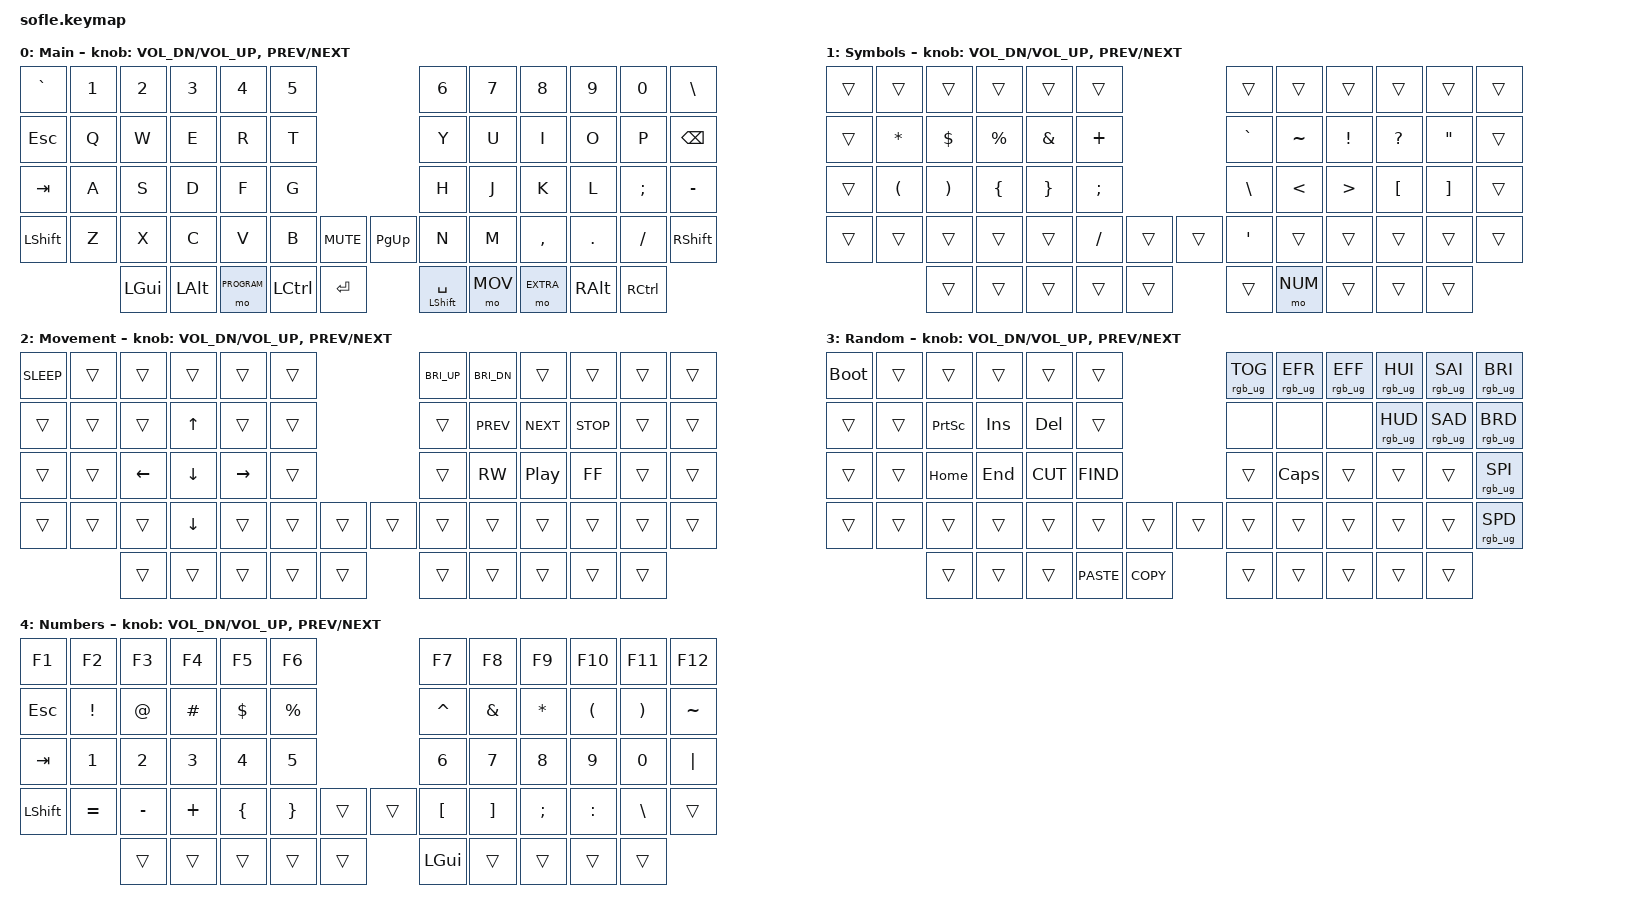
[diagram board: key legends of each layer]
#include <behaviors.dtsi>
#include <dt-bindings/zmk/keys.h>
#include <dt-bindings/zmk/bt.h>
#include <dt-bindings/zmk/outputs.h>
#include <dt-bindings/zmk/rgb.h>
#include <dt-bindings/led/led.h>

#define QWERTY  0
#define PROGRAM 1
#define MOV     2
#define EXTRA   3
#define NUM     4

// ws2812 RGB underglow data line. Sofle uses Pro Micro D3, which maps to
// P0.06 on the nice!nano v2. If the LEDs don't light, change this pin.
&pinctrl {
    spi3_default: spi3_default {
        group1 {
            psels = <NRF_PSEL(SPIM_MOSI, 0, 6)>;
        };
    };
    spi3_sleep: spi3_sleep {
        group1 {
            psels = <NRF_PSEL(SPIM_MOSI, 0, 6)>;
            low-power-enable;
        };
    };
};

&spi3 {
    compatible = "nordic,nrf-spim";
    status = "okay";
    pinctrl-0 = <&spi3_default>;
    pinctrl-1 = <&spi3_sleep>;
    pinctrl-names = "default", "sleep";

    led_strip: ws2812@0 {
        compatible = "worldsemi,ws2812-spi";
        reg = <0>;
        spi-max-frequency = <4000000>;

        chain-length = <29>;
        spi-one-frame = <0x70>;
        spi-zero-frame = <0x40>;
        color-mapping = <LED_COLOR_ID_GREEN LED_COLOR_ID_RED LED_COLOR_ID_BLUE>;
    };
};

/ {
    chosen {
        zmk,underglow = &led_strip;
    };

    behaviors {
        // Space on tap, Left Shift on hold. tap-preferred so fast typing
        // (rolling space + a letter) never registers a phantom shift —
        // the hold only fires if you genuinely hold past the term.
        spc_sft: space_shift {
            compatible = "zmk,behavior-hold-tap";
            #binding-cells = <2>;
            flavor = "tap-preferred";
            tapping-term-ms = <220>;
            quick-tap-ms = <175>;
            bindings = <&kp>, <&kp>;
        };
    };

    keymap {
        compatible = "zmk,keymap";

        qwerty_layer {
            display-name = "Main";
            bindings = <
&kp GRAVE  &kp N1    &kp N2    &kp N3    &kp N4    &kp N5                                  &kp N6    &kp N7    &kp N8    &kp N9    &kp N0    &kp BSLH
&kp ESC    &kp Q     &kp W     &kp E     &kp R     &kp T                                   &kp Y     &kp U     &kp I     &kp O     &kp P     &kp BSPC
&kp TAB    &kp A     &kp S     &kp D     &kp F     &kp G                                   &kp H     &kp J     &kp K     &kp L     &kp SEMI  &kp MINUS
&kp LSHFT  &kp Z     &kp X     &kp C     &kp V     &kp B     &kp C_MUTE       &kp PG_UP    &kp N     &kp M     &kp COMMA &kp DOT   &kp FSLH  &kp RSHFT
                     &kp LGUI  &kp LALT  &mo PROGRAM &kp LCTRL &kp RET           &spc_sft LSHFT SPACE &mo MOV &mo EXTRA &kp RALT  &kp RCTRL
            >;
            sensor-bindings = <&inc_dec_kp C_VOL_DN C_VOL_UP &inc_dec_kp C_PREV C_NEXT>;
        };

        program_layer {
            display-name = "Symbols";
            bindings = <
&trans     &trans    &trans    &trans    &trans    &trans                                  &trans    &trans    &trans    &trans    &trans    &trans
&trans     &kp ASTRK &kp DLLR  &kp PRCNT &kp AMPS  &kp PLUS                                &kp GRAVE &kp TILDE &kp EXCL  &kp QMARK &kp DQT   &trans
&trans     &kp LPAR  &kp RPAR  &kp LBRC  &kp RBRC  &kp SEMI                                &kp BSLH  &kp LT    &kp GT    &kp LBKT  &kp RBKT  &trans
&trans     &trans    &trans    &trans    &trans    &kp FSLH  &trans           &trans       &kp APOS  &trans    &trans    &trans    &trans    &trans
                     &trans    &trans    &trans    &trans    &trans               &trans   &mo NUM   &trans    &trans    &trans
            >;
            sensor-bindings = <&inc_dec_kp C_VOL_DN C_VOL_UP &inc_dec_kp C_PREV C_NEXT>;
        };

        mov_layer {
            display-name = "Movement";
            bindings = <
&kp C_SLEEP &trans   &trans    &trans    &trans    &trans                                  &kp C_BRI_UP &kp C_BRI_DN &trans &trans &trans  &trans
&trans     &trans    &trans    &kp UP    &trans    &trans                                  &trans    &kp C_PREV &kp C_NEXT &kp C_STOP &trans &trans
&trans     &trans    &kp LEFT  &kp DOWN  &kp RIGHT &trans                                  &trans    &kp C_RW  &kp C_PP  &kp C_FF  &trans    &trans
&trans     &trans    &trans    &kp DOWN  &trans    &trans    &trans           &trans       &trans    &trans    &trans    &trans    &trans    &trans
                     &trans    &trans    &trans    &trans    &trans               &trans   &trans    &trans    &trans    &trans
            >;
            sensor-bindings = <&inc_dec_kp C_VOL_DN C_VOL_UP &inc_dec_kp C_PREV C_NEXT>;
        };

        extra_layer {
            display-name = "Random";
            bindings = <
&bootloader &trans   &trans    &trans    &trans    &trans                                  &rgb_ug RGB_TOG &rgb_ug RGB_EFR &rgb_ug RGB_EFF &rgb_ug RGB_HUI &rgb_ug RGB_SAI &rgb_ug RGB_BRI
&trans     &trans    &kp PSCRN &kp INS   &kp DEL   &trans                                  &none     &none     &none     &rgb_ug RGB_HUD &rgb_ug RGB_SAD &rgb_ug RGB_BRD
&trans     &trans    &kp HOME  &kp END   &kp K_CUT &kp K_FIND                              &trans    &kp CAPS  &trans    &trans    &trans    &rgb_ug RGB_SPI
&trans     &trans    &trans    &trans    &trans    &trans    &trans           &trans       &trans    &trans    &trans    &trans    &trans    &rgb_ug RGB_SPD
                     &trans    &trans    &trans    &kp K_PASTE &kp K_COPY          &trans   &trans    &trans    &trans    &trans
            >;
            sensor-bindings = <&inc_dec_kp C_VOL_DN C_VOL_UP &inc_dec_kp C_PREV C_NEXT>;
        };

        num_layer {
            display-name = "Numbers";
            bindings = <
&kp F1     &kp F2    &kp F3    &kp F4    &kp F5    &kp F6                                  &kp F7    &kp F8    &kp F9    &kp F10   &kp F11   &kp F12
&kp ESC    &kp EXCL  &kp AT    &kp HASH  &kp DLLR  &kp PRCNT                               &kp CARET &kp AMPS  &kp ASTRK &kp LPAR  &kp RPAR  &kp TILDE
&kp TAB    &kp N1    &kp N2    &kp N3    &kp N4    &kp N5                                  &kp N6    &kp N7    &kp N8    &kp N9    &kp N0    &kp PIPE
&kp LSHFT  &kp EQUAL &kp MINUS &kp PLUS  &kp LBRC  &kp RBRC  &trans           &trans       &kp LBKT  &kp RBKT  &kp SEMI  &kp COLON &kp BSLH  &trans
                     &trans    &trans    &trans    &trans    &trans               &kp LGUI &trans    &trans    &trans    &trans
            >;
            sensor-bindings = <&inc_dec_kp C_VOL_DN C_VOL_UP &inc_dec_kp C_PREV C_NEXT>;
        };
    };
};
